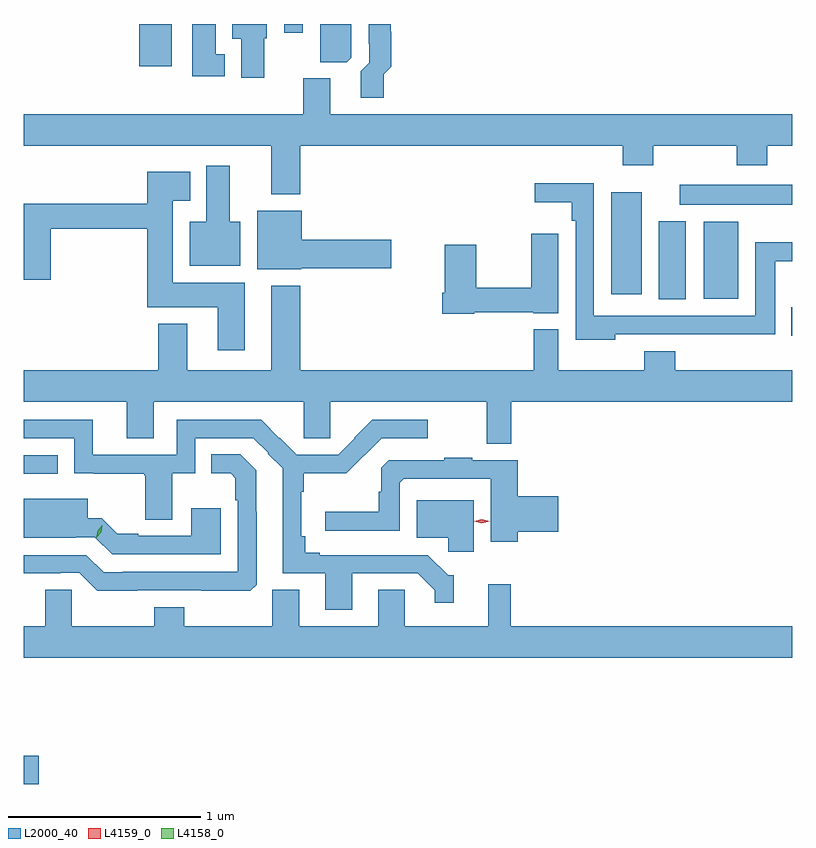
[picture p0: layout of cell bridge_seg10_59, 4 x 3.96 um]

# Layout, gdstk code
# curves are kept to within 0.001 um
import gdstk
lib = gdstk.Library(unit=1e-6, precision=1e-09)
def R(c, l, rs):  # rectangles x0, y0, x1, y1
    for r in rs: c.add(gdstk.rectangle(r[:2], r[2:], *l))
def P(c, l, *ps):  # polygons
    for p in ps: c.add(gdstk.Polygon(p, *l))
L2000_40 = (2000, 40)
L4158_0 = (4158, 0)
L4159_0 = (4159, 0)

bridge_seg10_59 = lib.new_cell('bridge_seg10_59')
R(bridge_seg10_59, L2000_40, [(841.142,1303.655,841.219,1303.802), (841.142,1305.269,841.318,1305.366), (845.138,1305.987,845.142,1306.137), (844.448,1306.177,844.588,1306.585), (844.682,1306.181,844.861,1306.582), (844.199,1306.203,844.36,1306.735), (844.557,1306.67,845.142,1306.774), (841.742,1307.391,841.912,1307.611), (842.499,1307.565,842.595,1307.611)])
P(bridge_seg10_59, L2000_40, [(842.847,1307.436),(842.847,1307.611),(842.684,1307.611),(842.684,1307.413),(842.823,1307.413)],
  [(842.188,1307.453),(842.14,1307.453),(842.14,1307.611),(842.018,1307.611),(842.018,1307.34),(842.188,1307.34)],
  [(843.017,1307.349),(843.056,1307.388),(843.056,1307.57),(843.053,1307.57),(843.053,1307.611),(842.937,1307.611),(842.937,1307.509),(842.94,1307.509),(842.94,1307.409),(842.897,1307.366),(842.897,1307.226),(843.017,1307.226)],
  [(842.395,1307.538),(842.407,1307.538),(842.407,1307.611),(842.228,1307.611),(842.228,1307.534),(842.273,1307.534),(842.273,1307.331),(842.395,1307.331)],
  [(842.582,1306.976),(844.259,1306.976),(844.259,1306.877),(844.419,1306.877),(844.419,1306.976),(844.852,1306.976),(844.852,1306.877),(845.012,1306.877),(845.012,1306.976),(845.142,1306.976),(845.142,1307.14),(842.737,1307.14),(842.737,1307.328),(842.597,1307.328),(842.597,1307.14),(841.142,1307.14),(841.142,1306.976),(842.429,1306.976),(842.429,1306.724),(842.582,1306.724)],
  [(842.269,1306.582),(842.215,1306.582),(842.215,1306.873),(842.093,1306.873),(842.093,1306.582),(842.006,1306.582),(842.006,1306.352),(842.269,1306.352)],
  [(842.293,1306.264),(841.918,1306.264),(841.918,1306.691),(842.008,1306.691),(842.008,1306.843),(841.784,1306.843),(841.784,1306.675),(841.142,1306.675),(841.142,1306.281),(841.283,1306.281),(841.283,1306.546),(841.784,1306.546),(841.784,1306.136),(842.153,1306.136),(842.153,1305.912),(842.293,1305.912)],
  [(844.221,1305.996),(844.615,1305.996),(844.615,1305.995),(845.053,1305.995),(845.053,1306.375),(845.142,1306.375),(845.142,1306.475),(844.949,1306.475),(844.949,1306.092),(844.11,1306.092),(844.11,1306.781),(843.801,1306.781),(843.801,1306.682),(843.994,1306.682),(843.994,1306.586),(844.014,1306.586),(844.014,1305.968),(844.221,1305.968)],
  [(842.586,1306.34),(843.055,1306.34),(843.055,1306.487),(842.59,1306.487),(842.59,1306.639),(842.357,1306.639),(842.357,1306.334),(842.586,1306.334)],
  [(843.486,1306.11),(843.795,1306.11),(843.795,1306.106),(843.925,1306.106),(843.925,1306.519),(843.784,1306.519),(843.784,1306.238),(843.498,1306.238),(843.498,1306.462),(843.332,1306.462),(843.332,1306.213),(843.32,1306.213),(843.32,1306.102),(843.486,1306.102)],
  [(842.582,1306.249),(842.429,1306.249),(842.429,1305.808),(841.993,1305.808),(841.993,1306.051),(841.841,1306.051),(841.841,1305.808),(841.142,1305.808),(841.142,1305.644),(841.679,1305.644),(841.679,1305.454),(841.819,1305.454),(841.819,1305.644),(842.599,1305.644),(842.599,1305.454),(842.736,1305.454),(842.736,1305.644),(843.552,1305.644),(843.552,1305.426),(843.68,1305.426),(843.68,1305.644),(845.142,1305.644),(845.142,1305.808),(844.532,1305.808),(844.532,1305.907),(844.372,1305.907),(844.372,1305.808),(843.925,1305.808),(843.925,1306.021),(843.797,1306.021),(843.797,1305.808),(842.582,1305.808)],
  [(842.851,1304.751),(843.193,1304.751),(843.281,1304.663),(843.281,1304.598),(843.38,1304.598),(843.38,1304.742),(843.351,1304.742),(843.246,1304.847),(842.683,1304.847),(842.683,1304.86),(842.606,1304.86),(842.606,1304.944),(842.586,1304.944),(842.586,1305.176),(842.599,1305.176),(842.599,1305.272),(842.821,1305.272),(843.006,1305.456),(843.244,1305.456),(843.244,1305.552),(842.957,1305.552),(842.863,1305.458),(842.865,1305.456),(842.778,1305.369),(842.562,1305.369),(842.377,1305.552),(841.938,1305.552),(841.938,1305.369),(841.501,1305.369),(841.501,1305.552),(841.142,1305.552),(841.142,1305.456),(841.404,1305.456),(841.404,1305.272),(841.768,1305.271),(841.768,1305.261),(841.775,1305.261),(841.775,1305.031),(841.915,1305.031),(841.915,1305.272),(842.034,1305.272),(842.034,1305.456),(842.337,1305.456),(842.415,1305.378),(842.413,1305.375),(842.489,1305.298),(842.489,1304.751),(842.711,1304.751),(842.711,1304.562),(842.851,1304.562)],
  [(841.733,1304.664),(842.065,1304.664),(842.065,1304.66),(842.321,1304.66),(842.354,1304.693),(842.354,1305.073),(842.352,1305.073),(842.352,1305.288),(842.269,1305.371),(842.119,1305.371),(842.119,1305.272),(842.219,1305.272),(842.244,1305.246),(842.244,1305.131),(842.256,1305.131),(842.256,1304.76),(841.657,1304.76),(841.657,1304.757),(841.557,1304.757),(841.467,1304.847),(841.142,1304.847),(841.142,1304.751),(841.331,1304.751),(841.331,1304.754),(841.431,1304.754),(841.525,1304.66),(841.733,1304.66)],
  [(843.713,1304.969),(843.925,1304.969),(843.925,1305.152),(843.713,1305.152),(843.713,1305.339),(843.476,1305.339),(843.476,1305.352),(843.331,1305.352),(843.331,1305.339),(843.042,1305.339),(843.003,1305.3),(843.003,1305.176),(842.991,1305.176),(842.991,1305.071),(842.712,1305.071),(842.712,1304.973),(843.099,1304.973),(843.099,1305.222),(843.12,1305.243),(843.572,1305.243),(843.572,1304.916),(843.713,1304.916)],
  [(842.167,1305.091),(842.015,1305.091),(842.015,1304.946),(841.738,1304.946),(841.738,1304.958),(841.628,1304.958),(841.548,1305.038),(841.474,1305.038),(841.474,1305.139),(841.142,1305.139),(841.142,1304.936),(841.412,1304.936),(841.412,1304.94),(841.512,1304.94),(841.602,1304.85),(842.167,1304.85)],
  [(843.484,1305.133),(843.188,1305.133),(843.188,1304.936),(843.352,1304.936),(843.352,1304.864),(843.484,1304.864)],
  [(842.435,1304.666),(842.435,1304.476),(841.977,1304.476),(841.977,1304.575),(841.822,1304.575),(841.822,1304.476),(841.392,1304.476),(841.392,1304.666),(841.253,1304.666),(841.253,1304.476),(841.142,1304.476),(841.142,1304.312),(845.142,1304.312),(845.142,1304.476),(843.677,1304.476),(843.677,1304.695),(843.56,1304.695),(843.56,1304.476),(843.126,1304.476),(843.126,1304.666),(842.987,1304.666),(842.987,1304.476),(842.575,1304.476),(842.575,1304.666)])
P(bridge_seg10_59, L4158_0, [(841.518,1304.937),(841.526,1304.974),(841.55,1305.001),(841.551,1305.001),(841.551,1305.001),(841.544,1304.965),(841.519,1304.937),(841.519,1304.937)])
P(bridge_seg10_59, L4159_0, [(843.527,1305.012),(843.488,1305.022),(843.488,1305.022),(843.488,1305.022),(843.527,1305.032),(843.567,1305.022),(843.567,1305.022),(843.567,1305.022)])

lib.write_gds('bridge_seg10_59.gds')
